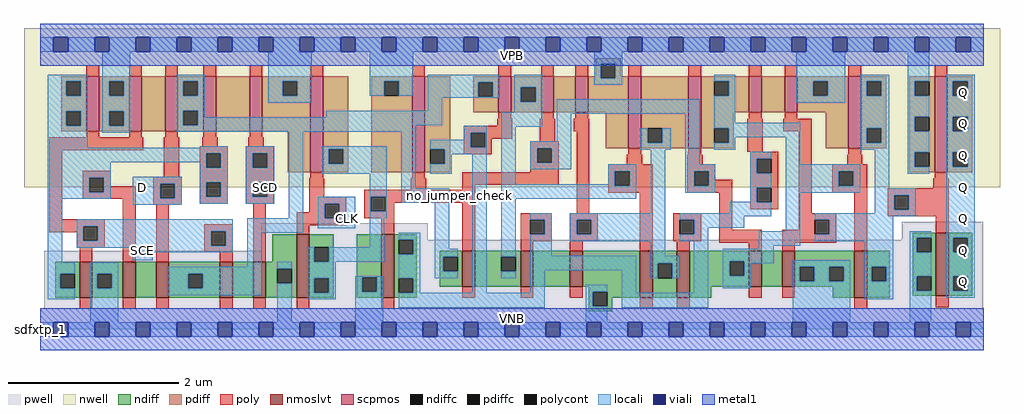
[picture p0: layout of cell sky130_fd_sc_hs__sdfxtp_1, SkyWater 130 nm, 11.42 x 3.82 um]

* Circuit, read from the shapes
.subckt sky130_fd_sc_hs__sdfxtp_1 CLK D SCD SCE VGND VNB VPB VPWR Q
XM1 VGND SCE n1 VNB sky130_fd_pr__nfet_01v8_lvt w=0.42 l=0.15
XM2 n2 n1 VGND VNB sky130_fd_pr__nfet_01v8_lvt w=0.42 l=0.15
XM3 n3 D n2 VNB sky130_fd_pr__nfet_01v8_lvt w=0.42 l=0.15
XM4 n4 SCE n3 VNB sky130_fd_pr__nfet_01v8_lvt w=0.42 l=0.15
XM5 VGND SCD n4 VNB sky130_fd_pr__nfet_01v8_lvt w=0.42 l=0.15
XM6 n5 CLK VGND VNB sky130_fd_pr__nfet_01v8_lvt w=0.74 l=0.15
XM7 n6 n5 VGND VNB sky130_fd_pr__nfet_01v8_lvt w=0.74 l=0.15
XM8 n7 n5 n3 VNB sky130_fd_pr__nfet_01v8_lvt w=0.42 l=0.15
XM9 n8 n6 n7 VNB sky130_fd_pr__nfet_01v8_lvt w=0.42 l=0.15
XM10 VGND n9 n8 VNB sky130_fd_pr__nfet_01v8_lvt w=0.42 l=0.15
XM11 n9 n7 VGND VNB sky130_fd_pr__nfet_01v8_lvt w=0.55 l=0.15
XM12 n10 n6 n9 VNB sky130_fd_pr__nfet_01v8_lvt w=0.55 l=0.15
XM13 n11 n5 n10 VNB sky130_fd_pr__nfet_01v8_lvt w=0.42 l=0.15
XM14 VGND n12 n11 VNB sky130_fd_pr__nfet_01v8_lvt w=0.42 l=0.15
XM15 n12 n10 VGND VNB sky130_fd_pr__nfet_01v8_lvt w=0.55 l=0.15
XM16 Q n12 VGND VNB sky130_fd_pr__nfet_01v8_lvt w=0.74 l=0.15
XM17 VPWR SCE n1 VPB sky130_fd_pr__pfet_01v8 w=0.64 l=0.15
XM18 n13 SCE VPWR VPB sky130_fd_pr__pfet_01v8 w=0.64 l=0.15
XM19 n3 D n13 VPB sky130_fd_pr__pfet_01v8 w=0.64 l=0.15
XM20 n14 n1 n3 VPB sky130_fd_pr__pfet_01v8 w=0.64 l=0.15
XM21 VPWR SCD n14 VPB sky130_fd_pr__pfet_01v8 w=0.64 l=0.15
XM22 n5 CLK VPWR VPB sky130_fd_pr__pfet_01v8 w=1.12 l=0.15
XM23 n6 n5 VPWR VPB sky130_fd_pr__pfet_01v8 w=1.12 l=0.15
XM24 n7 n6 n3 VPB sky130_fd_pr__pfet_01v8 w=0.42 l=0.15
XM25 n15 n5 n7 VPB sky130_fd_pr__pfet_01v8 w=0.42 l=0.15
XM26 VPWR n9 n15 VPB sky130_fd_pr__pfet_01v8 w=0.42 l=0.15
XM27 n9 n7 VPWR VPB sky130_fd_pr__pfet_01v8 w=0.84 l=0.15
XM28 n10 n5 n9 VPB sky130_fd_pr__pfet_01v8 w=0.84 l=0.15
XM29 n16 n6 n10 VPB sky130_fd_pr__pfet_01v8 w=0.42 l=0.15
XM30 VPWR n12 n16 VPB sky130_fd_pr__pfet_01v8 w=0.42 l=0.15
XM31 n12 n10 VPWR VPB sky130_fd_pr__pfet_01v8 w=0.84 l=0.15
XM32 Q n12 VPWR VPB sky130_fd_pr__pfet_01v8 w=1.12 l=0.15
.ends

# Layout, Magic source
magic
tech sky130A
magscale 1 2
<< nwell >>
rect -38 332 2246 704
<< pwell >>
rect 517 210 907 248
rect 2016 210 2207 252
rect 517 184 2207 210
rect 9 49 2207 184
rect 0 0 2208 49
<< scpmos >>
rect 108 464 138 592
rect 208 464 238 592
rect 292 464 322 592
rect 382 464 412 592
rect 490 464 520 592
rect 632 368 662 592
rect 870 368 900 592
rect 1072 508 1102 592
rect 1172 508 1202 592
rect 1252 508 1282 592
rect 1376 424 1406 592
rect 1517 424 1547 592
rect 1658 508 1688 592
rect 1742 508 1772 592
rect 1891 424 1921 592
rect 2093 368 2123 592
<< nmoslvt >>
rect 92 74 122 158
rect 193 74 223 158
rect 271 74 301 158
rect 420 74 450 158
rect 498 74 528 158
rect 600 74 630 222
rect 798 74 828 222
rect 988 100 1018 184
rect 1124 100 1154 184
rect 1239 100 1269 184
rect 1403 74 1433 184
rect 1490 74 1520 184
rect 1658 100 1688 184
rect 1736 100 1766 184
rect 1905 74 1935 184
rect 2096 78 2126 226
<< ndiff >>
rect 543 158 600 222
rect 35 130 92 158
rect 35 96 47 130
rect 81 96 92 130
rect 35 74 92 96
rect 122 130 193 158
rect 122 96 133 130
rect 167 96 193 130
rect 122 74 193 96
rect 223 74 271 158
rect 301 130 420 158
rect 301 96 346 130
rect 380 96 420 130
rect 301 74 420 96
rect 450 74 498 158
rect 528 142 600 158
rect 528 108 555 142
rect 589 108 600 142
rect 528 74 600 108
rect 630 192 687 222
rect 630 158 641 192
rect 675 158 687 192
rect 630 120 687 158
rect 630 86 641 120
rect 675 86 687 120
rect 630 74 687 86
rect 741 122 798 222
rect 741 88 753 122
rect 787 88 798 122
rect 741 74 798 88
rect 828 210 881 222
rect 828 176 839 210
rect 873 176 881 210
rect 2042 214 2096 226
rect 828 120 881 176
rect 828 86 839 120
rect 873 86 881 120
rect 935 170 988 184
rect 935 136 943 170
rect 977 136 988 170
rect 935 100 988 136
rect 1018 170 1124 184
rect 1018 136 1079 170
rect 1113 136 1124 170
rect 1018 100 1124 136
rect 1154 100 1239 184
rect 1269 100 1403 184
rect 828 74 881 86
rect 1284 88 1403 100
rect 1284 54 1293 88
rect 1327 74 1403 88
rect 1433 154 1490 184
rect 1433 120 1445 154
rect 1479 120 1490 154
rect 1433 74 1490 120
rect 1520 159 1658 184
rect 1520 125 1613 159
rect 1647 125 1658 159
rect 1520 100 1658 125
rect 1688 100 1736 184
rect 1766 146 1905 184
rect 1766 112 1777 146
rect 1811 112 1846 146
rect 1880 112 1905 146
rect 1766 100 1905 112
rect 1520 74 1570 100
rect 1855 74 1905 100
rect 1935 146 1988 184
rect 1935 112 1946 146
rect 1980 112 1988 146
rect 1935 74 1988 112
rect 2042 180 2051 214
rect 2085 180 2096 214
rect 2042 124 2096 180
rect 2042 90 2051 124
rect 2085 90 2096 124
rect 2042 78 2096 90
rect 2126 214 2181 226
rect 2126 180 2137 214
rect 2171 180 2181 214
rect 2126 124 2181 180
rect 2126 90 2137 124
rect 2171 90 2181 124
rect 2126 78 2181 90
rect 1327 54 1339 74
rect 1284 42 1339 54
<< pdiff >>
rect 1300 622 1358 634
rect 1300 592 1312 622
rect 49 580 108 592
rect 49 546 61 580
rect 95 546 108 580
rect 49 510 108 546
rect 49 476 61 510
rect 95 476 108 510
rect 49 464 108 476
rect 138 580 208 592
rect 138 546 161 580
rect 195 546 208 580
rect 138 510 208 546
rect 138 476 161 510
rect 195 476 208 510
rect 138 464 208 476
rect 238 464 292 592
rect 322 580 382 592
rect 322 546 335 580
rect 369 546 382 580
rect 322 512 382 546
rect 322 478 335 512
rect 369 478 382 512
rect 322 464 382 478
rect 412 464 490 592
rect 520 580 632 592
rect 520 546 567 580
rect 601 546 632 580
rect 520 464 632 546
rect 579 368 632 464
rect 662 421 721 592
rect 662 387 675 421
rect 709 387 721 421
rect 662 368 721 387
rect 775 580 870 592
rect 775 546 805 580
rect 839 546 870 580
rect 775 368 870 546
rect 900 421 959 592
rect 1013 578 1072 592
rect 1013 544 1025 578
rect 1059 544 1072 578
rect 1013 508 1072 544
rect 1102 567 1172 592
rect 1102 533 1125 567
rect 1159 533 1172 567
rect 1102 508 1172 533
rect 1202 508 1252 592
rect 1282 588 1312 592
rect 1346 592 1358 622
rect 1346 588 1376 592
rect 1282 508 1376 588
rect 900 387 913 421
rect 947 387 959 421
rect 900 368 959 387
rect 1323 424 1376 508
rect 1406 470 1517 592
rect 1406 436 1422 470
rect 1456 436 1517 470
rect 1406 424 1517 436
rect 1547 580 1658 592
rect 1547 546 1577 580
rect 1611 546 1658 580
rect 1547 508 1658 546
rect 1688 508 1742 592
rect 1772 580 1891 592
rect 1772 546 1809 580
rect 1843 546 1891 580
rect 1772 508 1891 546
rect 1547 470 1623 508
rect 1547 436 1577 470
rect 1611 436 1623 470
rect 1547 424 1623 436
rect 1838 424 1891 508
rect 1921 580 1980 592
rect 1921 546 1934 580
rect 1968 546 1980 580
rect 1921 470 1980 546
rect 1921 436 1934 470
rect 1968 436 1980 470
rect 1921 424 1980 436
rect 2034 580 2093 592
rect 2034 546 2046 580
rect 2080 546 2093 580
rect 2034 497 2093 546
rect 2034 463 2046 497
rect 2080 463 2093 497
rect 2034 414 2093 463
rect 2034 380 2046 414
rect 2080 380 2093 414
rect 2034 368 2093 380
rect 2123 580 2181 592
rect 2123 546 2136 580
rect 2170 546 2181 580
rect 2123 497 2181 546
rect 2123 463 2136 497
rect 2170 463 2181 497
rect 2123 414 2181 463
rect 2123 380 2136 414
rect 2170 380 2181 414
rect 2123 368 2181 380
<< ndiffc >>
rect 47 96 81 130
rect 133 96 167 130
rect 346 96 380 130
rect 555 108 589 142
rect 641 158 675 192
rect 641 86 675 120
rect 753 88 787 122
rect 839 176 873 210
rect 839 86 873 120
rect 943 136 977 170
rect 1079 136 1113 170
rect 1293 54 1327 88
rect 1445 120 1479 154
rect 1613 125 1647 159
rect 1777 112 1811 146
rect 1846 112 1880 146
rect 1946 112 1980 146
rect 2051 180 2085 214
rect 2051 90 2085 124
rect 2137 180 2171 214
rect 2137 90 2171 124
<< pdiffc >>
rect 61 546 95 580
rect 61 476 95 510
rect 161 546 195 580
rect 161 476 195 510
rect 335 546 369 580
rect 335 478 369 512
rect 567 546 601 580
rect 675 387 709 421
rect 805 546 839 580
rect 1025 544 1059 578
rect 1125 533 1159 567
rect 1312 588 1346 622
rect 913 387 947 421
rect 1422 436 1456 470
rect 1577 546 1611 580
rect 1809 546 1843 580
rect 1577 436 1611 470
rect 1934 546 1968 580
rect 1934 436 1968 470
rect 2046 546 2080 580
rect 2046 463 2080 497
rect 2046 380 2080 414
rect 2136 546 2170 580
rect 2136 463 2170 497
rect 2136 380 2170 414
<< poly >>
rect 108 592 138 618
rect 208 592 238 618
rect 292 592 322 618
rect 382 592 412 618
rect 490 592 520 618
rect 632 592 662 618
rect 870 592 900 618
rect 1072 592 1102 618
rect 1172 592 1202 618
rect 1252 592 1282 618
rect 108 449 138 464
rect 208 449 238 464
rect 292 449 322 464
rect 382 449 412 464
rect 490 449 520 464
rect 21 419 241 449
rect 21 257 51 419
rect 99 355 165 371
rect 289 357 325 449
rect 379 428 415 449
rect 487 428 523 449
rect 373 412 439 428
rect 373 378 389 412
rect 423 378 439 412
rect 99 321 115 355
rect 149 335 165 355
rect 265 341 331 357
rect 149 321 223 335
rect 99 305 223 321
rect 21 241 151 257
rect 21 227 101 241
rect 85 207 101 227
rect 135 207 151 241
rect 85 191 151 207
rect 92 158 122 191
rect 193 158 223 305
rect 265 307 281 341
rect 315 307 331 341
rect 265 291 331 307
rect 373 344 439 378
rect 373 310 389 344
rect 423 310 439 344
rect 373 294 439 310
rect 481 412 547 428
rect 481 378 497 412
rect 531 378 547 412
rect 481 344 547 378
rect 1376 592 1406 618
rect 1517 592 1547 618
rect 1658 592 1688 618
rect 1742 592 1772 618
rect 1891 592 1921 618
rect 2093 592 2123 618
rect 1072 493 1102 508
rect 1172 493 1202 508
rect 1252 493 1282 508
rect 1069 476 1105 493
rect 991 460 1105 476
rect 991 426 1007 460
rect 1041 446 1105 460
rect 1041 426 1057 446
rect 1169 440 1205 493
rect 1249 463 1285 493
rect 991 410 1057 426
rect 1147 424 1213 440
rect 1147 390 1163 424
rect 1197 390 1213 424
rect 1147 368 1213 390
rect 632 353 662 368
rect 870 353 900 368
rect 481 310 497 344
rect 531 310 547 344
rect 481 294 547 310
rect 629 310 665 353
rect 867 326 903 353
rect 988 338 1213 368
rect 988 326 1018 338
rect 758 310 1018 326
rect 629 294 716 310
rect 271 158 301 291
rect 384 230 450 246
rect 384 196 400 230
rect 434 196 450 230
rect 384 180 450 196
rect 420 158 450 180
rect 498 158 528 294
rect 629 274 666 294
rect 600 260 666 274
rect 700 260 716 294
rect 758 276 774 310
rect 808 296 1018 310
rect 808 276 828 296
rect 758 260 828 276
rect 600 244 716 260
rect 600 222 630 244
rect 798 222 828 260
rect 988 184 1018 296
rect 1255 272 1285 463
rect 1658 493 1688 508
rect 1742 493 1772 508
rect 1376 409 1406 424
rect 1517 409 1547 424
rect 1655 415 1691 493
rect 1739 463 1805 493
rect 1373 386 1409 409
rect 1514 386 1550 409
rect 1661 399 1727 415
rect 1329 370 1433 386
rect 1329 336 1345 370
rect 1379 336 1433 370
rect 1329 320 1433 336
rect 1514 370 1580 386
rect 1514 336 1530 370
rect 1564 350 1580 370
rect 1661 365 1677 399
rect 1711 365 1727 399
rect 1564 336 1619 350
rect 1514 320 1619 336
rect 1124 256 1197 272
rect 1124 222 1147 256
rect 1181 222 1197 256
rect 1124 206 1197 222
rect 1239 256 1305 272
rect 1239 222 1255 256
rect 1289 222 1305 256
rect 1239 206 1305 222
rect 1124 184 1154 206
rect 1239 184 1269 206
rect 1403 184 1433 320
rect 1481 256 1547 272
rect 1481 222 1497 256
rect 1531 222 1547 256
rect 1481 206 1547 222
rect 1589 233 1619 320
rect 1661 331 1727 365
rect 1661 297 1677 331
rect 1711 297 1727 331
rect 1661 281 1727 297
rect 1775 272 1805 463
rect 1891 409 1921 424
rect 1888 386 1924 409
rect 1853 370 1935 386
rect 1853 336 1869 370
rect 1903 336 1935 370
rect 2093 353 2123 368
rect 1853 320 1935 336
rect 2090 330 2126 353
rect 1775 256 1863 272
rect 1775 233 1813 256
rect 1490 184 1520 206
rect 1589 203 1688 233
rect 1658 184 1688 203
rect 1736 222 1813 233
rect 1847 222 1863 256
rect 1736 203 1863 222
rect 1736 184 1766 203
rect 1905 184 1935 320
rect 1983 314 2126 330
rect 1983 280 1999 314
rect 2033 280 2126 314
rect 1983 264 2126 280
rect 2096 226 2126 264
rect 988 74 1018 100
rect 1124 74 1154 100
rect 1239 74 1269 100
rect 92 48 122 74
rect 193 48 223 74
rect 271 48 301 74
rect 420 48 450 74
rect 498 48 528 74
rect 600 48 630 74
rect 798 48 828 74
rect 1658 74 1688 100
rect 1736 74 1766 100
rect 1403 48 1433 74
rect 1490 48 1520 74
rect 1905 48 1935 74
rect 2096 52 2126 78
<< polycont >>
rect 389 378 423 412
rect 115 321 149 355
rect 101 207 135 241
rect 281 307 315 341
rect 389 310 423 344
rect 497 378 531 412
rect 1007 426 1041 460
rect 1163 390 1197 424
rect 497 310 531 344
rect 400 196 434 230
rect 666 260 700 294
rect 774 276 808 310
rect 1345 336 1379 370
rect 1530 336 1564 370
rect 1677 365 1711 399
rect 1147 222 1181 256
rect 1255 222 1289 256
rect 1497 222 1531 256
rect 1677 297 1711 331
rect 1869 336 1903 370
rect 1813 222 1847 256
rect 1999 280 2033 314
<< locali >>
rect 0 649 31 683
rect 65 649 127 683
rect 161 649 223 683
rect 257 649 319 683
rect 353 649 415 683
rect 449 649 511 683
rect 545 649 607 683
rect 641 649 703 683
rect 737 649 799 683
rect 833 649 895 683
rect 929 649 991 683
rect 1025 649 1087 683
rect 1121 649 1183 683
rect 1217 649 1279 683
rect 1313 649 1375 683
rect 1409 649 1471 683
rect 1505 649 1567 683
rect 1601 649 1663 683
rect 1697 649 1759 683
rect 1793 649 1855 683
rect 1889 649 1951 683
rect 1985 649 2047 683
rect 2081 649 2143 683
rect 2177 649 2208 683
rect 17 580 111 596
rect 17 546 61 580
rect 95 546 111 580
rect 17 510 111 546
rect 17 476 61 510
rect 95 476 111 510
rect 17 425 111 476
rect 145 580 211 649
rect 145 546 161 580
rect 195 546 211 580
rect 145 510 211 546
rect 145 476 161 510
rect 195 476 211 510
rect 145 460 211 476
rect 319 580 385 596
rect 319 546 335 580
rect 369 546 385 580
rect 319 512 385 546
rect 534 580 635 649
rect 534 546 567 580
rect 601 546 635 580
rect 771 580 873 649
rect 1296 622 1362 649
rect 771 546 805 580
rect 839 546 873 580
rect 907 578 1075 596
rect 534 530 635 546
rect 907 544 1025 578
rect 1059 544 1075 578
rect 907 542 1075 544
rect 1109 567 1175 596
rect 1296 588 1312 622
rect 1346 588 1362 622
rect 1296 572 1362 588
rect 1577 580 1627 596
rect 907 512 941 542
rect 319 478 335 512
rect 369 496 385 512
rect 669 496 941 512
rect 1109 533 1125 567
rect 1159 533 1175 567
rect 1611 546 1627 580
rect 1109 508 1175 533
rect 369 478 941 496
rect 319 462 879 478
rect 373 425 439 428
rect 17 412 439 425
rect 17 391 389 412
rect 17 355 165 391
rect 373 378 389 391
rect 423 378 439 412
rect 17 321 115 355
rect 149 321 165 355
rect 17 305 165 321
rect 217 341 331 357
rect 217 307 281 341
rect 315 307 331 341
rect 17 157 51 305
rect 217 291 331 307
rect 373 344 439 378
rect 373 310 389 344
rect 423 310 439 344
rect 373 294 439 310
rect 481 412 548 428
rect 481 378 497 412
rect 531 378 548 412
rect 481 344 548 378
rect 481 310 497 344
rect 531 310 548 344
rect 481 294 548 310
rect 582 260 616 462
rect 659 421 811 428
rect 659 387 675 421
rect 709 387 811 421
rect 659 364 811 387
rect 771 310 811 364
rect 85 241 450 257
rect 85 207 101 241
rect 135 230 450 241
rect 135 207 400 230
rect 85 196 400 207
rect 434 196 450 230
rect 85 191 450 196
rect 217 180 450 191
rect 484 226 616 260
rect 650 294 737 310
rect 650 260 666 294
rect 700 260 737 294
rect 650 236 737 260
rect 771 276 774 310
rect 808 276 811 310
rect 845 330 879 462
rect 991 460 1045 476
rect 991 444 1007 460
rect 913 426 1007 444
rect 1041 426 1045 460
rect 913 421 1045 426
rect 947 410 1045 421
rect 947 387 963 410
rect 913 364 963 387
rect 845 296 957 330
rect 771 260 811 276
rect 217 162 263 180
rect 17 130 81 157
rect 17 96 47 130
rect 17 70 81 96
rect 117 130 183 157
rect 484 146 518 226
rect 771 192 805 260
rect 625 158 641 192
rect 675 158 805 192
rect 839 210 889 226
rect 873 176 889 210
rect 117 96 133 130
rect 167 96 183 130
rect 117 17 183 96
rect 297 130 518 146
rect 297 96 346 130
rect 380 96 518 130
rect 297 80 518 96
rect 555 142 589 158
rect 555 17 589 108
rect 625 120 691 158
rect 625 86 641 120
rect 675 86 691 120
rect 625 70 691 86
rect 737 122 803 124
rect 737 88 753 122
rect 787 88 803 122
rect 737 17 803 88
rect 839 120 889 176
rect 873 86 889 120
rect 923 188 957 296
rect 923 170 977 188
rect 923 136 943 170
rect 923 119 977 136
rect 839 85 889 86
rect 1011 85 1045 410
rect 1079 474 1175 508
rect 1209 504 1543 538
rect 1079 340 1113 474
rect 1209 440 1243 504
rect 1147 424 1243 440
rect 1147 390 1163 424
rect 1197 390 1243 424
rect 1403 436 1422 470
rect 1456 436 1475 470
rect 1403 420 1475 436
rect 1147 374 1243 390
rect 1329 370 1395 386
rect 1329 340 1345 370
rect 1079 336 1345 340
rect 1379 336 1395 370
rect 1079 306 1395 336
rect 1079 170 1113 306
rect 1429 272 1463 420
rect 1509 386 1543 504
rect 1577 483 1627 546
rect 1769 580 1884 649
rect 1769 546 1809 580
rect 1843 546 1884 580
rect 1769 530 1884 546
rect 1918 580 1987 596
rect 1918 546 1934 580
rect 1968 546 1987 580
rect 1577 470 1779 483
rect 1611 449 1779 470
rect 1611 436 1627 449
rect 1577 420 1627 436
rect 1661 399 1711 415
rect 1509 370 1580 386
rect 1509 336 1530 370
rect 1564 336 1580 370
rect 1509 320 1580 336
rect 1661 365 1677 399
rect 1661 331 1711 365
rect 1661 298 1677 331
rect 1614 297 1677 298
rect 1614 272 1711 297
rect 1079 119 1113 136
rect 1147 256 1197 272
rect 1181 222 1197 256
rect 1147 172 1197 222
rect 1239 256 1463 272
rect 1239 222 1255 256
rect 1289 222 1463 256
rect 1239 206 1463 222
rect 1497 264 1711 272
rect 1745 386 1779 449
rect 1918 470 1987 546
rect 1918 436 1934 470
rect 1968 436 1987 470
rect 1918 420 1987 436
rect 1745 370 1919 386
rect 1745 336 1869 370
rect 1903 336 1919 370
rect 1745 320 1919 336
rect 1953 330 1987 420
rect 2030 580 2080 649
rect 2030 546 2046 580
rect 2030 497 2080 546
rect 2030 463 2046 497
rect 2030 414 2080 463
rect 2030 380 2046 414
rect 2030 364 2080 380
rect 2120 580 2187 596
rect 2120 546 2136 580
rect 2170 546 2187 580
rect 2120 497 2187 546
rect 2120 463 2136 497
rect 2170 463 2187 497
rect 2120 414 2187 463
rect 2120 380 2136 414
rect 2170 380 2187 414
rect 1497 256 1648 264
rect 1531 238 1648 256
rect 1531 222 1563 238
rect 1745 230 1779 320
rect 1953 314 2049 330
rect 1953 280 1999 314
rect 2033 280 2049 314
rect 1953 272 2049 280
rect 1497 206 1563 222
rect 1429 172 1463 206
rect 1147 138 1395 172
rect 1147 85 1181 138
rect 839 51 1181 85
rect 1277 88 1327 104
rect 1277 54 1293 88
rect 1277 17 1327 54
rect 1361 85 1395 138
rect 1429 154 1495 172
rect 1429 120 1445 154
rect 1479 120 1495 154
rect 1429 119 1495 120
rect 1529 85 1563 206
rect 1682 196 1779 230
rect 1813 264 2049 272
rect 1813 256 1996 264
rect 1847 222 1996 256
rect 1813 206 1996 222
rect 1682 188 1716 196
rect 1597 159 1716 188
rect 1597 125 1613 159
rect 1647 154 1716 159
rect 1647 125 1663 154
rect 1597 96 1663 125
rect 1761 146 1896 162
rect 1761 112 1777 146
rect 1811 112 1846 146
rect 1880 112 1896 146
rect 1361 51 1563 85
rect 1761 17 1896 112
rect 1930 146 1996 206
rect 1930 112 1946 146
rect 1980 112 1996 146
rect 1930 70 1996 112
rect 2035 214 2085 230
rect 2035 180 2051 214
rect 2035 124 2085 180
rect 2035 90 2051 124
rect 2035 17 2085 90
rect 2120 214 2187 380
rect 2120 180 2137 214
rect 2171 180 2187 214
rect 2120 124 2187 180
rect 2120 90 2137 124
rect 2171 90 2187 124
rect 2120 74 2187 90
rect 0 -17 31 17
rect 65 -17 127 17
rect 161 -17 223 17
rect 257 -17 319 17
rect 353 -17 415 17
rect 449 -17 511 17
rect 545 -17 607 17
rect 641 -17 703 17
rect 737 -17 799 17
rect 833 -17 895 17
rect 929 -17 991 17
rect 1025 -17 1087 17
rect 1121 -17 1183 17
rect 1217 -17 1279 17
rect 1313 -17 1375 17
rect 1409 -17 1471 17
rect 1505 -17 1567 17
rect 1601 -17 1663 17
rect 1697 -17 1759 17
rect 1793 -17 1855 17
rect 1889 -17 1951 17
rect 1985 -17 2047 17
rect 2081 -17 2143 17
rect 2177 -17 2208 17
<< viali >>
rect 31 649 65 683
rect 127 649 161 683
rect 223 649 257 683
rect 319 649 353 683
rect 415 649 449 683
rect 511 649 545 683
rect 607 649 641 683
rect 703 649 737 683
rect 799 649 833 683
rect 895 649 929 683
rect 991 649 1025 683
rect 1087 649 1121 683
rect 1183 649 1217 683
rect 1279 649 1313 683
rect 1375 649 1409 683
rect 1471 649 1505 683
rect 1567 649 1601 683
rect 1663 649 1697 683
rect 1759 649 1793 683
rect 1855 649 1889 683
rect 1951 649 1985 683
rect 2047 649 2081 683
rect 2143 649 2177 683
rect 31 -17 65 17
rect 127 -17 161 17
rect 223 -17 257 17
rect 319 -17 353 17
rect 415 -17 449 17
rect 511 -17 545 17
rect 607 -17 641 17
rect 703 -17 737 17
rect 799 -17 833 17
rect 895 -17 929 17
rect 991 -17 1025 17
rect 1087 -17 1121 17
rect 1183 -17 1217 17
rect 1279 -17 1313 17
rect 1375 -17 1409 17
rect 1471 -17 1505 17
rect 1567 -17 1601 17
rect 1663 -17 1697 17
rect 1759 -17 1793 17
rect 1855 -17 1889 17
rect 1951 -17 1985 17
rect 2047 -17 2081 17
rect 2143 -17 2177 17
<< metal1 >>
rect 0 683 2208 715
rect 0 649 31 683
rect 65 649 127 683
rect 161 649 223 683
rect 257 649 319 683
rect 353 649 415 683
rect 449 649 511 683
rect 545 649 607 683
rect 641 649 703 683
rect 737 649 799 683
rect 833 649 895 683
rect 929 649 991 683
rect 1025 649 1087 683
rect 1121 649 1183 683
rect 1217 649 1279 683
rect 1313 649 1375 683
rect 1409 649 1471 683
rect 1505 649 1567 683
rect 1601 649 1663 683
rect 1697 649 1759 683
rect 1793 649 1855 683
rect 1889 649 1951 683
rect 1985 649 2047 683
rect 2081 649 2143 683
rect 2177 649 2208 683
rect 0 617 2208 649
rect 0 17 2208 49
rect 0 -17 31 17
rect 65 -17 127 17
rect 161 -17 223 17
rect 257 -17 319 17
rect 353 -17 415 17
rect 449 -17 511 17
rect 545 -17 607 17
rect 641 -17 703 17
rect 737 -17 799 17
rect 833 -17 895 17
rect 929 -17 991 17
rect 1025 -17 1087 17
rect 1121 -17 1183 17
rect 1217 -17 1279 17
rect 1313 -17 1375 17
rect 1409 -17 1471 17
rect 1505 -17 1567 17
rect 1601 -17 1663 17
rect 1697 -17 1759 17
rect 1793 -17 1855 17
rect 1889 -17 1951 17
rect 1985 -17 2047 17
rect 2081 -17 2143 17
rect 2177 -17 2208 17
rect 0 -49 2208 -17
<< labels >>
rlabel comment s 0 0 0 0 4 sdfxtp_1
flabel comment s 980 313 980 313 0 FreeSans 200 0 0 0 no_jumper_check
flabel pwell s 0 0 2208 49 0 FreeSans 200 0 0 0 VNB
port 6 nsew ground bidirectional
flabel nwell s 0 617 2208 666 0 FreeSans 200 0 0 0 VPB
port 7 nsew power bidirectional
flabel metal1 s 0 617 2208 666 0 FreeSans 340 0 0 0 VPWR
port 8 nsew power bidirectional
flabel metal1 s 0 0 2208 49 0 FreeSans 340 0 0 0 VGND
port 5 nsew ground bidirectional
flabel locali s 223 168 257 202 0 FreeSans 340 0 0 0 SCE
port 4 nsew signal input
flabel locali s 2143 94 2177 128 0 FreeSans 340 0 0 0 Q
port 9 nsew signal output
flabel locali s 2143 168 2177 202 0 FreeSans 340 0 0 0 Q
port 9 nsew signal output
flabel locali s 2143 242 2177 276 0 FreeSans 340 0 0 0 Q
port 9 nsew signal output
flabel locali s 2143 316 2177 350 0 FreeSans 340 0 0 0 Q
port 9 nsew signal output
flabel locali s 2143 390 2177 424 0 FreeSans 340 0 0 0 Q
port 9 nsew signal output
flabel locali s 2143 464 2177 498 0 FreeSans 340 0 0 0 Q
port 9 nsew signal output
flabel locali s 2143 538 2177 572 0 FreeSans 340 0 0 0 Q
port 9 nsew signal output
flabel locali s 703 242 737 276 0 FreeSans 340 0 0 0 CLK
port 1 nsew clock input
flabel locali s 511 316 545 350 0 FreeSans 340 0 0 0 SCD
port 3 nsew signal input
flabel locali s 223 316 257 350 0 FreeSans 340 0 0 0 D
port 2 nsew signal input
<< properties >>
string LEFsite unit
string LEFclass CORE
string FIXED_BBOX 0 0 2208 666
string GDS_FILE $PDKPATH/libs.ref/sky130_fd_sc_hs/gds/sky130_fd_sc_hs.gds
string LEFsymmetry X Y
string GDS_END 2242218
string GDS_START 2225568
<< end >>
